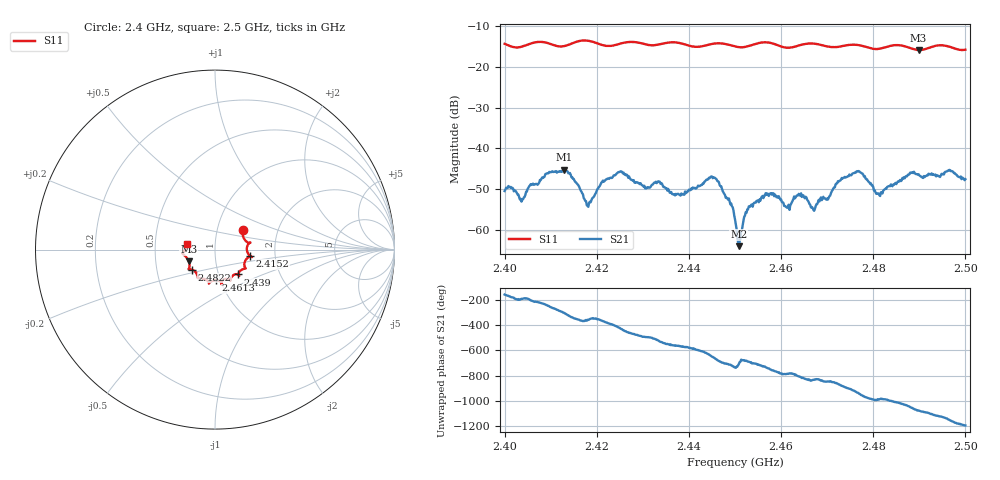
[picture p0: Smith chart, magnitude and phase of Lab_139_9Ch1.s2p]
# Hz S RI R 50
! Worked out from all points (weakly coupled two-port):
!   601 points, 2.4 GHz to 2.5 GHz, reference 50 ohm
!   highest |S21| = -45.24 dB at 2.4128 GHz (marker M1); lowest = -64.0 dB at 2.4508 GHz (marker M2)
!   lowest |S11| = -15.9 dB at 2.4898 GHz (marker M3), VSWR 1.38, Z = 37 - j5.02 ohm
!   |S11| at or under -10 dB: start of sweep to end of sweep
!   S12 and S22 are empty: the file has one direction only
!   S11 on the Smith chart (normalised r, x): 2.4 GHz: 1.33, +0.31; 2.4152 GHz: 1.48, -0.11; 2.439 GHz: 1.24, -0.35; 2.4613 GHz: 0.96, -0.34; 2.4822 GHz: 0.76, -0.17; 2.5 GHz: 0.73, +0.05
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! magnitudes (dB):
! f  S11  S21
! 2.4 GHz  -14.4  -50.5
! 2.4038 GHz  -15.0  -52.5
! 2.4128 GHz  -15.0  -45.2
! 2.4152 GHz  -14.1  -47.9
! 2.4167 GHz  -13.6  -50.6
! 2.4183 GHz  -13.7  -53.4
! 2.425 GHz  -14.4  -45.8
! 2.4333 GHz  -14.6  -48.1
! 2.439 GHz  -14.5  -51.4
! 2.4453 GHz  -14.4  -47.1
! 2.45 GHz  -15.0  -57.4
! 2.4508 GHz  -15.2  -64.0
! 2.4527 GHz  -15.0  -55.0
! 2.4562 GHz  -14.0  -52.2
! 2.4613 GHz  -15.4  -54.6
! 2.4638 GHz  -14.8  -51.2
! 2.4667 GHz  -14.3  -54.4
! 2.4765 GHz  -14.7  -45.6
! 2.4822 GHz  -15.4  -50.4
! 2.4833 GHz  -15.0  -49.3
! 2.4898 GHz  -15.9  -46.4
! 2.5 GHz  -15.8  -47.6
